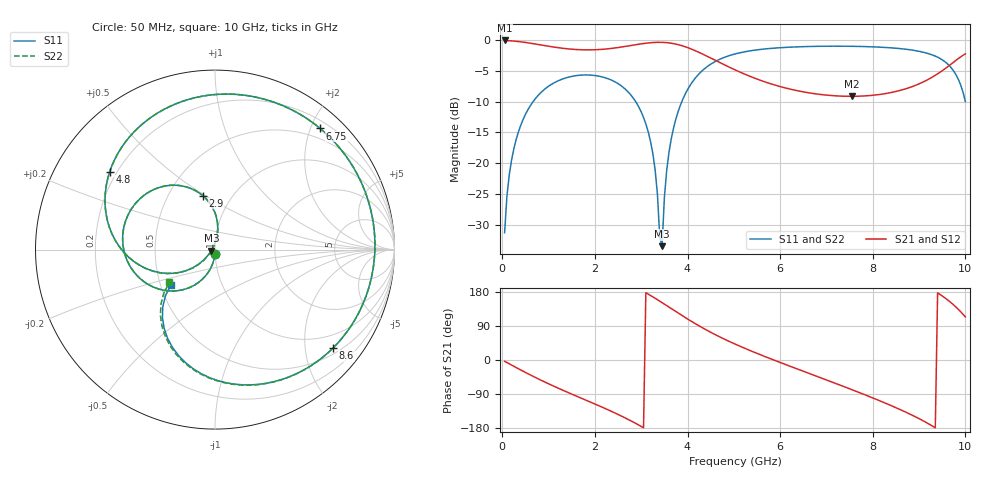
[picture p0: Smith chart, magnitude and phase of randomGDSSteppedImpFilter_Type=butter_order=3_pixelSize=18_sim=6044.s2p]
! freq	dB(S11)	phase(S11)	dB(S12)	phase(S12)
!  dB(S21)	phase(S21)	dB(S22)	phase(S22)
!S-par simulation data
#  GHz  S  DB  R 50
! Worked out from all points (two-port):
!   200 points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, 50 MHz to 10 GHz, reference 50 ohm
!   highest |S21| = -0.01 dB at 50 MHz (marker M1); lowest = -9.1 dB at 7.55 GHz (marker M2)
!   |S21| within 3 dB of the highest: start of sweep to 4.538 GHz; 9.838 GHz to end of sweep
!   lowest |S11| = -33.5 dB at 3.45 GHz (marker M3), VSWR 1.04, Z = 48 - j0.514 ohm
!   |S11| at or under -10 dB: start of sweep to 663.5 MHz; 2.882 GHz to 3.876 GHz (993.9 MHz wide, 29.4 % of centre)
!   |S22| runs from -33.8 to -0.9 dB; largest |S21 - S12| = 0
!   S11 on the Smith chart (normalised r, x): 50 MHz: 1.00, -0.05; 2.9 GHz: 0.73, +0.49; 4.8 GHz: 0.17, +0.32; 6.75 GHz: 0.32, +2.15; 8.6 GHz: 0.64, -2.63; 10 GHz: 0.56, -0.25
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0.05  -31.31 -92.8  -0.01 -3.4  -0.01 -3.4  -31.31 -92.8
0.2  -19.50 -103.0  -0.08 -13.4  -0.08 -13.4  -19.50 -103.0
0.5  -12.06 -123.1  -0.34 -32.9  -0.34 -32.9  -12.06 -123.1
1.05  -7.21 -156.1  -1.02 -65.7  -1.02 -65.7  -7.21 -156.1
1.75  -5.63 166.7  -1.54 -103.0  -1.54 -103.0  -5.63 166.6
2.9  -10.21 102.9  -0.68 -168.5  -0.68 -168.5  -10.22 102.7
3.25  -18.40 82.7  -0.35 166.7  -0.35 166.7  -18.41 82.2
3.4  -32.01 101.5  -0.31 155.3  -0.31 155.3  -32.24 99.4
3.45  -33.51 -165.3  -0.32 151.4  -0.32 151.4  -33.83 -163.1
3.55  -21.18 -137.3  -0.37 143.5  -0.37 143.5  -21.20 -136.6
3.8  -11.53 -150.3  -0.70 123.7  -0.70 123.7  -11.53 -150.0
4.35  -4.72 171.3  -2.32 83.1  -2.32 83.1  -4.72 171.4
4.8  -2.75 143.7  -3.99 54.7  -3.99 54.7  -2.75 143.7
5.05  -2.16 129.9  -4.89 40.7  -4.89 40.7  -2.16 129.9
5.85  -1.27 90.3  -7.19 0.5  -7.19 0.5  -1.27 90.3
6.7  -0.98 51.3  -8.64 -38.8  -8.64 -38.8  -0.98 51.2
6.75  -0.97 49.0  -8.69 -41.1  -8.69 -41.1  -0.98 48.9
7.55  -0.96 12.2  -9.11 -78.3  -9.11 -78.3  -0.96 12.0
8.35  -1.19 -26.7  -8.56 -117.9  -8.56 -117.9  -1.19 -27.0
8.6  -1.35 -39.7  -8.13 -131.3  -8.13 -131.3  -1.35 -40.1
9.4  -2.74 -88.9  -5.45 177.2  -5.45 177.2  -2.75 -89.8
10  -9.97 -141.1  -2.20 113.6  -2.20 113.6  -10.10 -144.4
